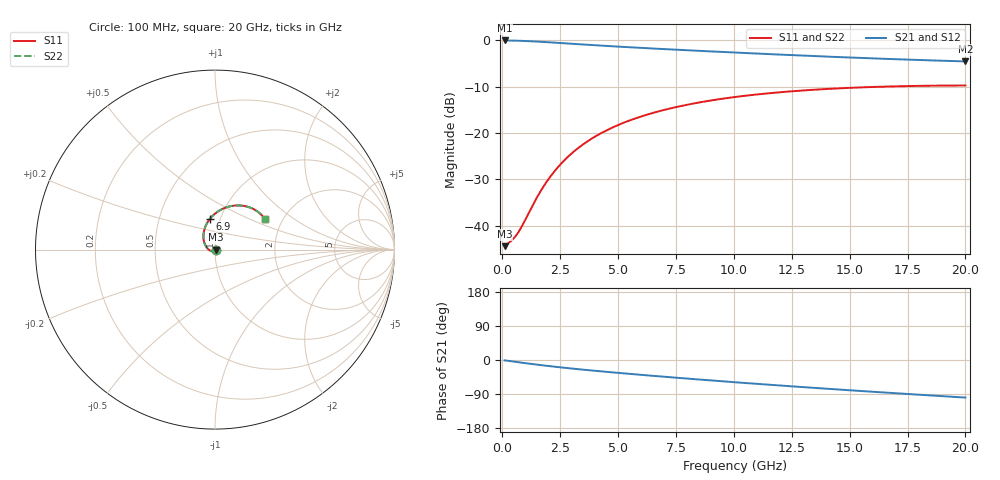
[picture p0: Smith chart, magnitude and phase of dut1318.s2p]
! Touchstone file exported from HFSS 2024.1.0
!  File:  C:/UserFiles/LocalFiles/RDL_TSV_Batchsim/temp_RDL_TSV_1318_1780386405.aedt
!  Generated:  04:03:54 PM Jun  2, 2026
!  Design:  RDL_TSV
!  Project:  temp_RDL_TSV_1318_1780386405
!  Setup:  Setup1
!  Solution:  Sweep
! Variables:
!  dtsv = 6.22um
!  hbump = 3um
!  htsv = 66.49um
!  ldown = 102.97um
!  lrdl = 233.97um
!  p = 40
!  p1 = 44.13um
!  rhole = 10um
!  subl = 1244.79um
!  t = 450um
!  tdown = 3.79um
!  trdl = 4.16um
!  viad = 10um
!  wdown = 21.08um
!  wrdl = 28.83um
!  xbump = 18um
# GHz S MA R 50.000000
! Terminal data exported
! Port[1] = TM1_1_T1
! Port[2] = TM1_4_T1
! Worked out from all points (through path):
!   200 points, 100 MHz to 20 GHz, reference 50 ohm
!   highest |S21| = -0.05 dB at 100 MHz (marker M1); lowest = -4.6 dB at 20 GHz (marker M2)
!   group delay of S21, straight-line fit = 13.1 ps
!   lowest |S11| = -44.4 dB at 100 MHz (marker M3), VSWR 1.01, Z = 50.6 - j0.0997 ohm
!   |S11| at or under -10 dB: start of sweep to 16.51 GHz
!   |S22| runs from -44.4 to -9.8 dB; largest |S21 - S12| = 5.4e-15
!   S11 on the Smith chart (normalised r, x): 100 MHz: 1.01, -0.00; 6.9 GHz: 0.89, +0.32; 20 GHz: 1.62, +0.62
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0.1  0.006033 -9.4  0.9938 -0.9  0.9938 -0.9  0.006033 -9.4
! Gamma 0 0 0 0
! Port Impedance 50 0 50 0
0.5  0.007353 -59.7  0.9897 -4.3  0.9897 -4.3  0.007354 -59.7
0.7  0.008564 -84.9  0.9865 -5.9  0.9865 -5.9  0.008565 -84.9
0.9  0.01048 -107.1  0.9826 -7.6  0.9826 -7.6  0.01048 -107.1
1.5  0.02031 -152.8  0.9667 -12.3  0.9667 -12.3  0.0203 -152.8
1.8  0.02702 -167.6  0.9572 -14.5  0.9572 -14.5  0.02701 -167.6
2.1  0.03457 -179.5  0.9471 -16.6  0.9471 -16.6  0.03456 -179.5
2.4  0.04276 170.6  0.9367 -18.7  0.9367 -18.7  0.04274 170.6
2.7  0.0514 162.1  0.9262 -20.6  0.9262 -20.6  0.05138 162.1
3.1  0.06341 152.3  0.9123 -23.2  0.9123 -23.2  0.06339 152.3
3.5  0.07573 143.9  0.8988 -25.6  0.8988 -25.6  0.0757 143.9
4.2  0.09745 131.6  0.8765 -29.6  0.8765 -29.6  0.09741 131.6
4.9  0.1188 121.3  0.8559 -33.4  0.8559 -33.4  0.1188 121.3
5.8  0.1452 110.2  0.8315 -38.2  0.8315 -38.2  0.1451 110.2
6.8  0.1724 99.9  0.8066 -43.2  0.8066 -43.2  0.1724 99.9
6.9  0.175 98.9  0.8042 -43.7  0.8042 -43.7  0.175 98.9
8.4  0.2111 86.3  0.7702 -51.0  0.7702 -51.0  0.211 86.3
10.1  0.2451 74.5  0.7351 -58.9  0.7351 -58.9  0.2451 74.5
11.7  0.2709 65.1  0.7049 -66.1  0.7049 -66.1  0.2708 65.1
13.4  0.292 56.5  0.6757 -73.3  0.6757 -73.3  0.2919 56.4
16.7  0.3172 42.6  0.6277 -86.6  0.6277 -86.6  0.3171 42.6
20  0.3252 31.5  0.5907 -99.1  0.5907 -99.1  0.3252 31.5
